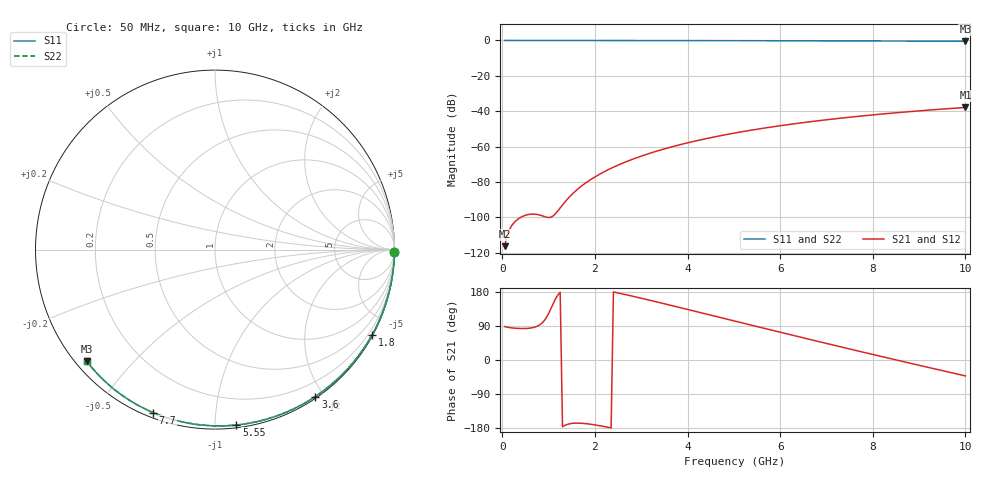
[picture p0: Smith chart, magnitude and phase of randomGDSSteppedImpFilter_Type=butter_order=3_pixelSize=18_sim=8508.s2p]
! freq	dB(S11)	phase(S11)	dB(S12)	phase(S12)
!  dB(S21)	phase(S21)	dB(S22)	phase(S22)
!S-par simulation data
#  GHz  S  DB  R 50
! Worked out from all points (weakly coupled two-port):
!   200 points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, 50 MHz to 10 GHz, reference 50 ohm
!   highest |S21| = -37.86 dB at 10 GHz (marker M1); lowest = -116.2 dB at 50 MHz (marker M2)
!   lowest |S11| = -0.5 dB at 10 GHz (marker M3), VSWR 37.22, Z = 1.53 - j18.7 ohm
!   |S11| at or under -10 dB: nowhere
!   |S22| runs from -0.5 to 0.0 dB; largest |S21 - S12| = 0
!   S11 on the Smith chart (normalised r, x): 50 MHz: open; 1.8 GHz: 0.03, -3.94; 3.6 GHz: 0.02, -1.89; 5.55 GHz: 0.02, -1.13; 7.7 GHz: 0.02, -0.69; 10 GHz: 0.03, -0.37
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0.05  -0.00 -0.8  -116.21 88.2  -116.21 88.2  -0.00 -0.8
0.45  -0.01 -7.2  -99.23 83.0  -99.23 83.0  -0.01 -7.2
0.9  -0.02 -14.4  -99.40 102.9  -99.40 102.9  -0.02 -14.4
1.75  -0.04 -27.7  -81.47 -167.3  -81.47 -167.3  -0.04 -27.7
1.8  -0.04 -28.5  -80.51 -167.9  -80.51 -167.9  -0.04 -28.5
1.85  -0.04 -29.3  -79.60 -168.6  -79.60 -168.6  -0.04 -29.3
2.05  -0.04 -32.4  -76.32 -172.2  -76.32 -172.2  -0.04 -32.4
2.25  -0.05 -35.4  -73.49 -176.7  -73.49 -176.7  -0.05 -35.5
2.55  -0.05 -40.0  -69.85 175.6  -69.85 175.6  -0.05 -40.0
2.95  -0.06 -46.0  -65.80 164.5  -65.80 164.5  -0.06 -46.1
3.4  -0.07 -52.7  -62.01 151.4  -62.01 151.4  -0.07 -52.8
3.6  -0.07 -55.7  -60.52 145.5  -60.52 145.5  -0.07 -55.7
3.9  -0.08 -60.0  -58.47 136.5  -58.47 136.5  -0.08 -60.1
4.3  -0.09 -65.7  -56.03 124.5  -56.03 124.5  -0.09 -65.8
5.05  -0.12 -76.2  -52.15 101.8  -52.15 101.8  -0.12 -76.3
5.55  -0.14 -83.0  -49.94 86.8  -49.94 86.8  -0.14 -83.1
6.1  -0.16 -90.4  -47.80 70.3  -47.80 70.3  -0.16 -90.4
6.7  -0.19 -98.2  -45.74 52.5  -45.74 52.5  -0.19 -98.2
7.7  -0.25 -110.9  -42.82 23.3  -42.82 23.3  -0.25 -110.9
8.35  -0.30 -118.9  -41.20 4.5  -41.20 4.5  -0.30 -119.0
9.2  -0.38 -129.3  -39.36 -19.6  -39.36 -19.6  -0.38 -129.3
10  -0.47 -139.0  -37.86 -42.0  -37.86 -42.0  -0.47 -139.1
